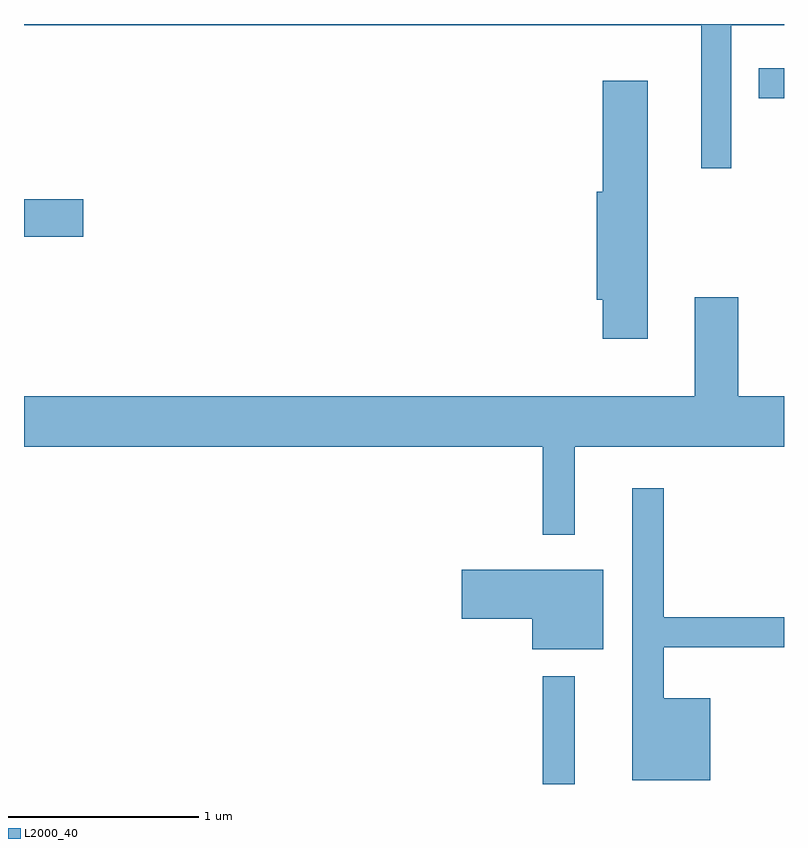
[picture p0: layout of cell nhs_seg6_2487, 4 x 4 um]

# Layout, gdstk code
import gdstk
lib = gdstk.Library(unit=1e-6, precision=1e-09)
def R(c, l, rs):  # rectangles x0, y0, x1, y1
    for r in rs: c.add(gdstk.rectangle(r[:2], r[2:], *l))
def P(c, l, *ps):  # polygons
    for p in ps: c.add(gdstk.Polygon(p, *l))
L2000_40 = (2000, 40)

nhs_seg6_2487 = lib.new_cell('nhs_seg6_2487')
R(nhs_seg6_2487, L2000_40, [(262.341,1648.162,262.509,1648.728), (259.611,1651.041,259.924,1651.239), (263.478,1651.771,263.611,1651.929)])
P(nhs_seg6_2487, L2000_40, [(263.334,1652.156),(263.611,1652.156),(263.611,1652.162),(259.611,1652.162),(259.611,1652.156),(263.176,1652.156),(263.176,1651.403),(263.334,1651.403)],
  [(262.894,1651.864),(262.656,1651.864),(262.656,1651.279),(262.626,1651.279),(262.626,1650.711),(262.656,1650.711),(262.656,1650.506),(262.894,1650.506)],
  [(262.509,1649.936),(263.611,1649.936),(263.611,1650.204),(263.369,1650.204),(263.369,1650.724),(263.141,1650.724),(263.141,1650.204),(259.611,1650.204),(259.611,1649.936),(262.341,1649.936),(262.341,1649.473),(262.509,1649.473)],
  [(263.224,1648.614),(262.979,1648.614),(262.979,1648.881),(263.611,1648.881),(263.611,1649.039),(262.979,1649.039),(262.979,1649.718),(262.811,1649.718),(262.811,1648.181),(263.224,1648.181)],
  [(262.659,1649.289),(261.916,1649.289),(261.916,1649.031),(262.286,1649.031),(262.286,1648.871),(262.659,1648.871)])

lib.write_gds('nhs_seg6_2487.gds')
